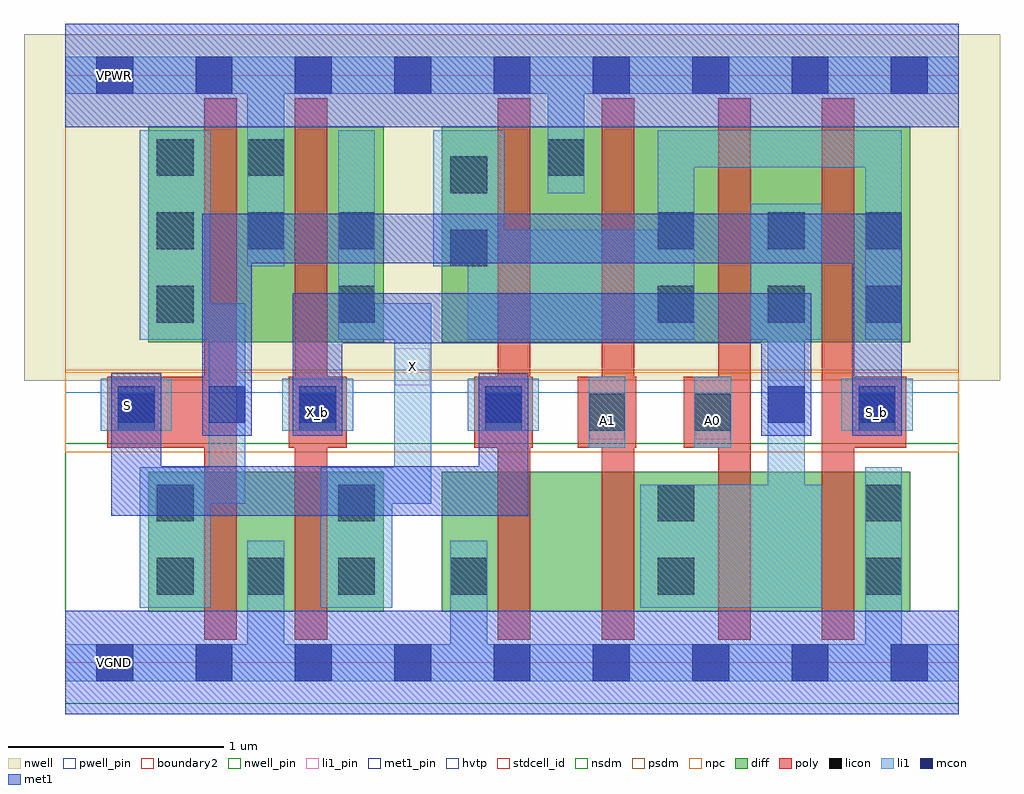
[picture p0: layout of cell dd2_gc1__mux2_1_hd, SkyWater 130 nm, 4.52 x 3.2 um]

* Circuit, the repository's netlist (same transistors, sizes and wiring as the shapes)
.subckt dd2_gc1__mux2_1_hd A0 A1 S VGND VNB VPB VPWR X
X0 S_b S VGND VNB sky130_fd_pr__nfet_01v8 w=0.65 l=0.15
X1 S_b S VPWR VPB sky130_fd_pr__pfet_01v8_hvt w=1 l=0.15
X2 X_b A0 n1 VNB sky130_fd_pr__nfet_01v8 w=0.65 l=0.15
X3 n1 S_b VGND VNB sky130_fd_pr__nfet_01v8 w=0.65 l=0.15
X4 X_b A1 n2 VNB sky130_fd_pr__nfet_01v8 w=0.65 l=0.15
X5 n2 S VGND VNB sky130_fd_pr__nfet_01v8 w=0.65 l=0.15
X6 X_b A0 p1 VPB sky130_fd_pr__pfet_01v8_hvt w=1 l=0.15
X7 X_b S_b p1 VPB sky130_fd_pr__pfet_01v8_hvt w=1 l=0.15
X8 p1 A1 VPWR VPB sky130_fd_pr__pfet_01v8_hvt w=1 l=0.15
X9 p1 S VPWR VPB sky130_fd_pr__pfet_01v8_hvt w=1 l=0.15
X10 X X_b VGND VNB sky130_fd_pr__nfet_01v8 w=0.65 l=0.15
X11 X X_b VPWR VPB sky130_fd_pr__pfet_01v8_hvt w=1 l=0.15
.ends

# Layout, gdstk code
import gdstk
lib = gdstk.Library(unit=1e-6, precision=1e-09)
def R(c, l, rs):  # rectangles x0, y0, x1, y1
    for r in rs: c.add(gdstk.rectangle(r[:2], r[2:], *l))
def A(c, l, x, y, w, h, nx, ny, dx, dy):  # array of equal rectangles
    R(c, l, [(x+i*dx, y+j*dy, x+i*dx+w, y+j*dy+h) for i in range(nx) for j in range(ny)])
nwell_pin = (64, 16)
nwell = (64, 20)
diff = (65, 20)
poly = (66, 20)
licon = (66, 44)
li1_pin = (67, 16)
li1 = (67, 20)
mcon = (67, 44)
met1_pin = (68, 16)
met1 = (68, 20)
hvtp = (78, 44)
stdcell_id = (81, 4)
nsdm = (93, 44)
psdm = (94, 20)
npc = (95, 20)
pwell_pin = (122, 16)
boundary2 = (236, 0)

dd2_gc1__mux2_1_hd = lib.new_cell('dd2_gc1__mux2_1_hd')
R(dd2_gc1__mux2_1_hd, nwell_pin, [(0.145,2.635,0.315,2.805)])
R(dd2_gc1__mux2_1_hd, nwell, [(-0.19,1.305,4.33,2.91)])
R(dd2_gc1__mux2_1_hd, diff, [(0.385,0.235,1.475,0.885), (1.745,0.235,3.915,0.885), (0.385,1.485,1.475,2.485), (1.745,1.485,3.915,2.485)])
R(dd2_gc1__mux2_1_hd, poly, [(0.645,0.105,0.795,2.615), (1.065,0.105,1.215,2.615), (2.005,0.105,2.155,2.615), (2.485,0.105,2.635,2.615), (3.025,0.105,3.175,2.615), (3.505,0.105,3.655,2.615), (0.195,0.995,0.795,1.325), (1.035,0.995,1.305,1.325), (1.895,0.995,2.165,1.325), (2.375,0.995,2.645,1.325), (2.865,0.995,3.175,1.325), (3.505,0.995,3.895,1.325)])
A(dd2_gc1__mux2_1_hd, licon, 0.425, 0.315, 0.17, 0.17, 3, 2, 0.42, 1.6)
A(dd2_gc1__mux2_1_hd, licon, 1.785, 0.315, 0.17, 0.17, 3, 1, 0.96, 0)
R(dd2_gc1__mux2_1_hd, licon, [(0.425,0.655,0.595,0.825), (1.265,0.655,1.435,0.825), (2.745,0.655,2.915,0.825), (3.705,0.655,3.875,0.825), (0.245,1.075,0.415,1.245), (1.085,1.075,1.255,1.245), (1.945,1.075,2.115,1.245), (2.425,1.075,2.595,1.245), (2.915,1.075,3.085,1.245), (3.675,1.075,3.845,1.245), (0.425,1.575,0.595,1.745), (1.265,1.575,1.435,1.745), (2.745,1.575,2.915,1.745), (3.255,1.575,3.425,1.745), (3.705,1.575,3.875,1.745), (1.785,1.835,1.955,2.005), (2.745,1.915,2.915,2.085), (3.255,1.915,3.425,2.085), (3.705,1.915,3.875,2.085), (1.785,2.175,1.955,2.345), (0.425,2.255,0.595,2.425), (0.845,2.255,1.015,2.425), (2.235,2.255,2.405,2.425)])
R(dd2_gc1__mux2_1_hd, li1_pin, [(2.43,1.035,2.59,1.205), (2.92,1.035,3.08,1.205), (0.205,1.105,0.375,1.275), (1.53,1.285,1.69,1.455)])
R(dd2_gc1__mux2_1_hd, li1, [(0,-0.085,4.14,0.085), (0.845,-0.085,1.015,0.565), (1.785,-0.085,1.955,0.565), (3.705,-0.085,3.875,0.905), (0.345,0.255,0.675,0.905), (1.185,0.255,1.515,0.905), (2.665,0.255,3.505,0.825), (0.345,0.735,0.835,0.905), (1.185,0.735,1.695,0.905), (3.255,0.815,3.425,1.505), (0.665,0.895,0.835,1.505), (1.525,0.895,1.695,1.505), (2.425,0.995,2.595,1.325), (2.915,0.995,3.085,1.325), (0.165,1.075,0.495,1.315), (1.005,1.075,1.335,1.315), (1.865,1.075,2.195,1.315), (3.595,1.075,3.925,1.315), (0.345,1.495,0.835,1.665), (0.345,1.495,0.675,2.465), (1.265,1.495,1.435,2.465), (1.265,1.495,1.695,1.665), (1.865,1.495,2.035,1.835), (1.865,1.495,2.915,2.005), (2.745,1.495,2.915,2.465), (3.175,1.495,3.505,2.125), (3.705,1.495,3.875,2.465), (0.845,1.835,1.015,2.805), (1.705,1.835,2.035,2.465), (2.235,2.175,2.405,2.805), (2.745,2.295,3.875,2.465), (0,2.635,4.14,2.805)])
A(dd2_gc1__mux2_1_hd, mcon, 0.145, -0.085, 0.17, 0.17, 9, 2, 0.46, 2.72)
A(dd2_gc1__mux2_1_hd, mcon, 0.245, 1.11, 0.17, 0.17, 3, 1, 0.42, 0)
R(dd2_gc1__mux2_1_hd, mcon, [(1.945,1.11,2.115,1.28), (3.255,1.11,3.425,1.28), (3.675,1.11,3.845,1.28)])
R(dd2_gc1__mux2_1_hd, met1_pin, [(0.145,-0.085,0.315,0.085), (0.145,2.635,0.315,2.805)])
R(dd2_gc1__mux2_1_hd, met1, [(0,-0.24,4.14,0.24), (0.215,0.68,0.445,1.34), (0.215,0.68,2.145,0.91), (1.915,0.68,2.145,1.34), (0.635,1.05,0.865,2.08), (1.055,1.05,1.285,1.71), (3.225,1.05,3.455,1.71), (3.645,1.05,3.875,2.08), (1.055,1.48,3.455,1.71), (0.635,1.85,3.875,2.08), (0,2.48,4.14,2.96)])
R(dd2_gc1__mux2_1_hd, hvtp, [(0,1.25,4.14,2.72)])
R(dd2_gc1__mux2_1_hd, stdcell_id, [(0,0,4.14,2.72)])
R(dd2_gc1__mux2_1_hd, nsdm, [(0,-0.19,4.14,1.015)])
R(dd2_gc1__mux2_1_hd, psdm, [(0,1.355,4.14,2.91)])
R(dd2_gc1__mux2_1_hd, npc, [(0,0.975,4.14,1.345)])
R(dd2_gc1__mux2_1_hd, pwell_pin, [(0.145,-0.085,0.315,0.085)])
R(dd2_gc1__mux2_1_hd, boundary2, [(0,0,4.14,2.72)])
dd2_gc1__mux2_1_hd.add(gdstk.Label('X_b', (1.17,1.16), layer=67, texttype=5))
dd2_gc1__mux2_1_hd.add(gdstk.Label('S_b', (3.76,1.16), layer=67, texttype=5))
dd2_gc1__mux2_1_hd.add(gdstk.Label('S', (0.29,1.19), layer=67, texttype=5))
dd2_gc1__mux2_1_hd.add(gdstk.Label('A1', (2.51,1.12), layer=67, texttype=5))
dd2_gc1__mux2_1_hd.add(gdstk.Label('A0', (3,1.12), layer=67, texttype=5))
dd2_gc1__mux2_1_hd.add(gdstk.Label('X', (1.61,1.37), layer=67, texttype=5))
dd2_gc1__mux2_1_hd.add(gdstk.Label('VGND', (0.23,0), layer=68, texttype=5))
dd2_gc1__mux2_1_hd.add(gdstk.Label('VPWR', (0.23,2.72), layer=68, texttype=5))
dd2_gc1__mux2_1_hd.add(gdstk.Label('VPB', (0.23,2.72), layer=64, texttype=5))
dd2_gc1__mux2_1_hd.add(gdstk.Label('VNB', (0.23,0), layer=64, texttype=59))

lib.write_gds('dd2_gc1__mux2_1_hd.gds')
